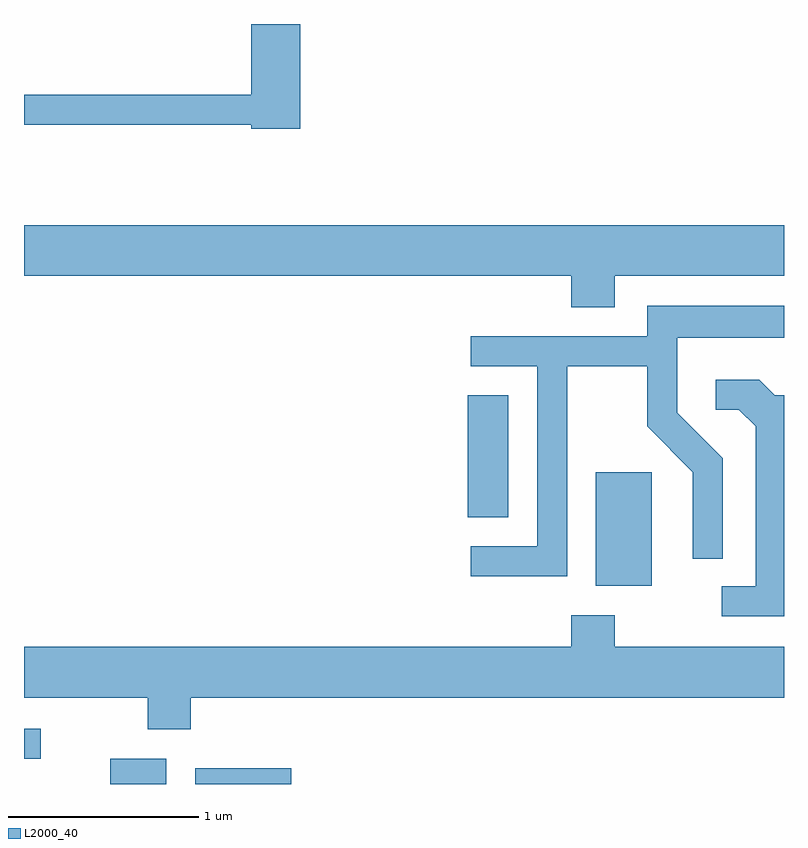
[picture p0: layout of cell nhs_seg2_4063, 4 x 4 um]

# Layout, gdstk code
import gdstk
lib = gdstk.Library(unit=1e-6, precision=1e-09)
def R(c, l, rs):  # rectangles x0, y0, x1, y1
    for r in rs: c.add(gdstk.rectangle(r[:2], r[2:], *l))
def P(c, l, *ps):  # polygons
    for p in ps: c.add(gdstk.Polygon(p, *l))
L2000_40 = (2000, 40)

nhs_seg2_4063 = lib.new_cell('nhs_seg2_4063')
R(nhs_seg2_4063, L2000_40, [(304.066,1107.802,304.359,1107.934), (304.511,1107.802,305.018,1107.884), (303.611,1107.936,303.698,1108.094), (306.621,1108.846,306.914,1109.444), (305.946,1109.206,306.159,1109.849)])
P(nhs_seg2_4063, L2000_40, [(305.064,1111.802),(304.806,1111.802),(304.806,1111.429),(303.611,1111.429),(303.611,1111.271),(304.806,1111.271),(304.806,1111.251),(305.064,1111.251)],
  [(306.719,1110.476),(307.611,1110.476),(307.611,1110.744),(303.611,1110.744),(303.611,1110.476),(306.491,1110.476),(306.491,1110.311),(306.719,1110.311)],
  [(306.469,1110.001),(306.891,1110.001),(306.891,1109.684),(307.131,1109.444),(307.131,1108.988),(307.289,1108.988),(307.289,1109.517),(307.049,1109.757),(307.049,1110.151),(307.611,1110.151),(307.611,1110.319),(306.891,1110.319),(306.891,1110.159),(305.963,1110.159),(305.963,1110.001),(306.311,1110.001),(306.311,1109.054),(305.963,1109.054),(305.963,1108.896),(306.469,1108.896)],
  [(307.611,1109.849),(307.562,1109.849),(307.482,1109.929),(307.253,1109.929),(307.253,1109.771),(307.374,1109.771),(307.461,1109.684),(307.461,1108.844),(307.283,1108.844),(307.283,1108.686),(307.611,1108.686)],
  [(307.611,1108.524),(306.719,1108.524),(306.719,1108.689),(306.491,1108.689),(306.491,1108.524),(303.611,1108.524),(303.611,1108.256),(304.261,1108.256),(304.261,1108.091),(304.489,1108.091),(304.489,1108.256),(307.611,1108.256)])

lib.write_gds('nhs_seg2_4063.gds')
